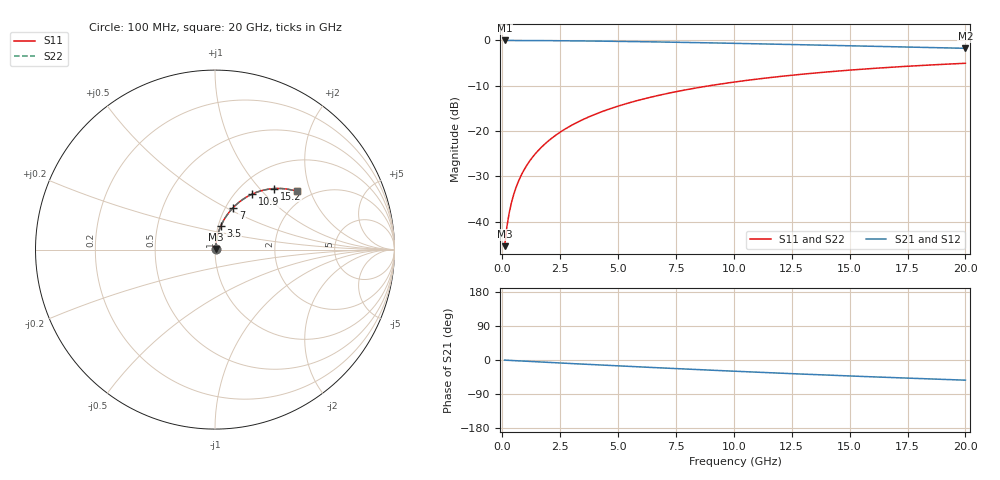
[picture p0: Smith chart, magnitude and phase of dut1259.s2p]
! Touchstone file exported from HFSS 2026.1.0
!  File:  C:/ffzhzh/LocalFiles/Ansys_Project_Files/temp_train_BSMRDL_1259_1783177460_55132.aedt
!  Generated:  11:05:45 PM Jul  4, 2026
!  Design:  BSMRDL
!  Project:  temp_train_BSMRDL_1259_1783177460_55132
! Variables:
!  h_bsmrdl = 5.77um
!  h_ox = 20um
!  h_rdl = 5um
!  h_sub = 80um
!  h_tmrdl = 5um
!  h_tsv = 80um
!  h_via = 3um
!  l_bsmrdl = 754.84um
!  l_sub = 1154.84um
!  l_tmrdl = 200um
!  m_sub = 200um
!  pitch = 54.57um
!  r_tsv = 6um
!  s_tmrdl = 10um
!  w_bsmrdl = 13.19um
!  w_sub = 500um
!  w_tmrdl = 12um
!  x_tsv_center1 = 206um
!  x_tsv_center2 = 974.03um
!  x_tsv_center3 = 1186.03um
!  x_tsv_center4 = 1954.06um
!  x_tsv_center5 = 2166.06um
!  x_tsv_center6 = 2934.09um
# GHz S MA R 50.000000
! Terminal data exported
! Port[1] = BSM_RDL1_1_T1
! Port[2] = BSM_RDL1_1_T2
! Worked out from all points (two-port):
!   200 points, 100 MHz to 20 GHz, reference 50 ohm
!   highest |S21| = -0.03 dB at 100 MHz (marker M1); lowest = -1.8 dB at 20 GHz (marker M2)
!   |S21| within 3 dB of the highest: start of sweep to end of sweep
!   lowest |S11| = -45.4 dB at 100 MHz (marker M3), VSWR 1.01, Z = 50.4 + j0.408 ohm
!   |S11| at or under -10 dB: start of sweep to 8.955 GHz
!   |S22| runs from -45.4 to -5.1 dB; largest |S21 - S12| = 3.8e-15
!   S11 on the Smith chart (normalised r, x): 100 MHz: 1.01, +0.01; 3.5 GHz: 1.03, +0.27; 7 GHz: 1.08, +0.54; 10.9 GHz: 1.19, +0.85; 15.2 GHz: 1.37, +1.20; 20 GHz: 1.71, +1.61
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0.1  0.0054 48.6  0.9964 -0.3  0.9964 -0.3  0.0054 48.6
! Gamma 0 0 0 0
! Port Impedance 50 0 50 0
0.2  0.008875 65.2  0.9963 -0.6  0.9963 -0.6  0.008875 65.2
0.3  0.01264 71.8  0.9962 -1.0  0.9962 -1.0  0.01264 71.8
0.4  0.01647 75.3  0.996 -1.3  0.996 -1.3  0.01647 75.3
0.5  0.02033 77.3  0.9959 -1.6  0.9959 -1.6  0.02033 77.3
0.7  0.02807 79.5  0.9956 -2.2  0.9956 -2.2  0.02807 79.5
1  0.03972 80.7  0.995 -3.2  0.995 -3.2  0.03972 80.7
1.4  0.05524 80.9  0.994 -4.4  0.994 -4.4  0.05524 80.9
2  0.07834 80.0  0.9919 -6.3  0.9919 -6.3  0.07834 80.0
2.7  0.1049 78.4  0.9888 -8.5  0.9888 -8.5  0.1049 78.4
3.5  0.1346 76.2  0.9843 -11.0  0.9843 -11.0  0.1346 76.2
4.2  0.16 74.3  0.9798 -13.1  0.9798 -13.1  0.16 74.3
5  0.1883 72.1  0.974 -15.5  0.974 -15.5  0.1883 72.1
6.8  0.2491 67.1  0.9589 -20.7  0.9589 -20.7  0.2491 67.1
7  0.2556 66.5  0.957 -21.3  0.957 -21.3  0.2556 66.5
8.5  0.3026 62.5  0.9425 -25.5  0.9425 -25.5  0.3026 62.5
10.1  0.3493 58.3  0.9257 -29.8  0.9257 -29.8  0.3493 58.3
10.9  0.3712 56.3  0.9169 -31.9  0.9169 -31.9  0.3712 56.3
13.4  0.434 50.1  0.8887 -38.3  0.8887 -38.3  0.434 50.1
15.2  0.4736 45.9  0.8682 -42.6  0.8682 -42.6  0.4736 45.9
16.7  0.5033 42.5  0.8514 -46.1  0.8514 -46.1  0.5034 42.5
20  0.5587 35.5  0.8165 -53.2  0.8165 -53.2  0.5588 35.5
